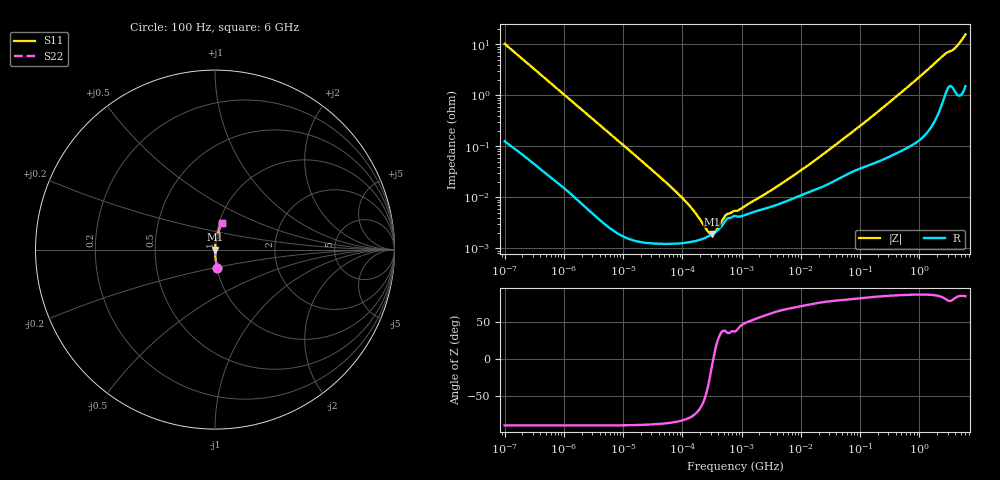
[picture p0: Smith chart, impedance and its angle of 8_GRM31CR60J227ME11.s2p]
!Murata Part Number: GRM31CR60J227ME11
!These Parameters are Measured in Series Mode Connection
!  o--ll--o
!Port1  Port2
!  o------o
!Operation Temp=25[C], DC Bias Voltage=0[V]
!Freq. Start=100[Hz] Stop=6000000000[Hz] 401[Steps]
# Hz S RI R 50
!Freq.(Hz) S11(Real) S11(Imag) S21(Real) S21(Imag) S12(Real) S12(Imag) S22(Real) S22(Imag)
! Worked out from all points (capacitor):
!   401 points, 100 Hz to 6 GHz, reference 50 ohm
!   read as one part in series: C = 154 uF near 109 Hz
!   lowest |Z| = 1.92 mohm at 316.4 kHz (marker M1)
!   series resonance near 333 kHz, so ESL is about 1.5 nH
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100  0.0117 -0.1016  0.9883 0.1016  0.9883 0.1016  0.0117 -0.1016
120  0.00843 -0.0854  0.9916 0.0854  0.9916 0.0854  0.00843 -0.0854
320  0.00149 -0.0324  0.9985 0.0324  0.9985 0.0324  0.00149 -0.0324
2008  0.000102 -0.00527  0.9999 0.00527  0.9999 0.00527  0.000102 -0.00527
40335  1.24e-05 -0.000261  1 0.000261  1 0.000261  1.24e-05 -0.000261
90302  1.26e-05 -0.000109  1 0.000109  1 0.000109  1.26e-05 -0.000109
98762  1.27e-05 -9.82e-05  1 9.82e-05  1 9.82e-05  1.27e-05 -9.82e-05
108014  1.28e-05 -8.8e-05  1 8.8e-05  1 8.8e-05  1.28e-05 -8.8e-05
316350  1.89e-05 -3.1e-06  1 3.1e-06  1 3.1e-06  1.89e-05 -3.1e-06
774597  4.34e-05 3.26e-05  1 -3.26e-05  1 -3.26e-05  4.34e-05 3.26e-05
1813585  5.41e-05 7.61e-05  0.9999 -7.61e-05  0.9999 -7.61e-05  5.41e-05 7.61e-05
2169299  5.76e-05 8.82e-05  0.9999 -8.82e-05  0.9999 -8.82e-05  5.76e-05 8.82e-05
4246196  7.37e-05 0.000155  0.9999 -0.000155  0.9999 -0.000155  7.37e-05 0.000155
1.555665e7  0.000134 0.000467  0.9999 -0.000467  0.9999 -0.000467  0.000134 0.000467
9.326766e7  0.000361 0.00233  0.9996 -0.00233  0.9996 -0.00233  0.000361 0.00233
3.124326e8  0.00068 0.00729  0.9993 -0.00729  0.9993 -0.00729  0.00068 0.00729
1.094528e9  0.00206 0.0249  0.9979 -0.0249  0.9979 -0.0249  0.00206 0.0249
2.562649e9  0.0117 0.0594  0.9883 -0.0594  0.9883 -0.0594  0.0117 0.0594
3.8344e9  0.0188 0.0772  0.9812 -0.0772  0.9812 -0.0772  0.0188 0.0772
4.385646e9  0.0187 0.0916  0.9813 -0.0916  0.9813 -0.0916  0.0187 0.0916
5.486059e9  0.0282 0.1275  0.9718 -0.1275  0.9718 -0.1275  0.0282 0.1275
6e9  0.0375 0.1474  0.9625 -0.1474  0.9625 -0.1474  0.0375 0.1474
